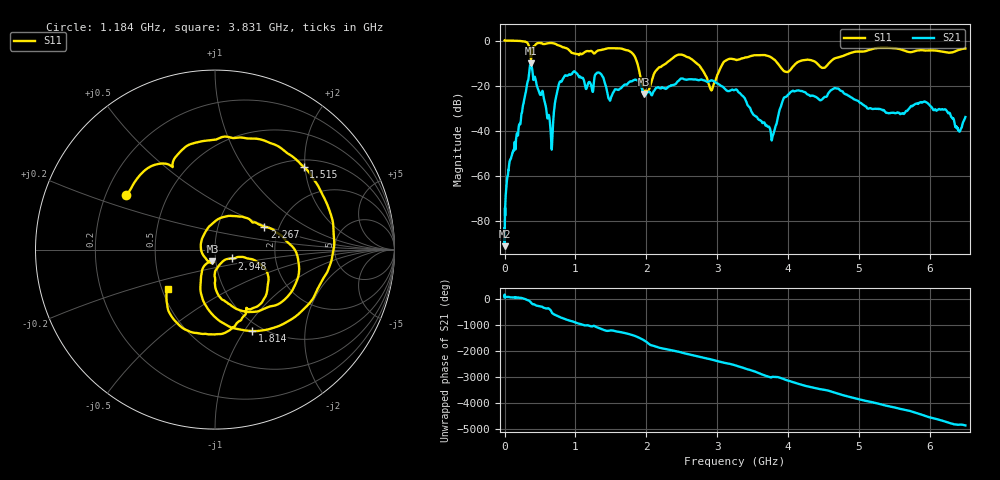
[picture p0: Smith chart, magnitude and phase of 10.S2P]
!Keysight Technologies,E5063A,MY54503115,A.05.08
!Date: Wed Nov 22 14:09:47 2023
!Data & Calibration Information:
!Freq	S11:NONE(--)	S21:NONE(--)	S12:NONE(--)	S22:NONE(--)
# Hz S dB R 50
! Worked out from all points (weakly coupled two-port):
!   10001 points, 100 kHz to 6.5 GHz, reference 50 ohm
!   highest |S21| = -10.06 dB at 366.7 MHz (marker M1); lowest = -91.3 dB at 1.4 MHz (marker M2)
!   lowest |S11| = -23.7 dB at 1.96 GHz (marker M3), VSWR 1.14, Z = 48.2 - j6.19 ohm
!   |S11| at or under -10 dB: 1.872 GHz to 2.283 GHz (411.2 MHz wide, 19.8 % of centre); 2.705 GHz to 3.08 GHz (375.7 MHz wide, 13 % of centre); 3.849 GHz to 4.115 GHz (266.6 MHz wide, 6.7 % of centre) (the widest 3 of 4)
!   S12 and S22 are empty: the file has one direction only
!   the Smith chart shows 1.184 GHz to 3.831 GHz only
!   S11 on the Smith chart (normalised r, x): 1.184 GHz: 0.28, +0.26; 1.515 GHz: 1.16, +1.97; 1.814 GHz: 0.90, -1.09; 2.267 GHz: 1.68, +0.46; 2.948 GHz: 1.20, -0.12; 3.831 GHz: 0.54, -0.27
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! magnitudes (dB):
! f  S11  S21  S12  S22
! 100 kHz  0.0  -83.3  -  -
! 1.4 MHz  0.0  -91.3  -  -
! 65.1 MHz  0.0  -54.7  -  -
! 366.7 MHz  -7.7  -10.1  -  -
! 657.9 MHz  -1.1  -46.2  -  -
! 789.2 MHz  -2.4  -18.1  -  -
! 1.084 GHz  -6.1  -16.6  -  -
! 1.184 GHz  -4.7  -18.6  -  -
! 1.336 GHz  -4.3  -14.3  -  -
! 1.515 GHz  -3.4  -24.3  -  -
! 1.814 GHz  -6.0  -17.7  -  -
! 1.96 GHz  -23.7  -23.3  -  -
! 2.167 GHz  -12.2  -20.7  -  -
! 2.267 GHz  -10.4  -21.4  -  -
! 2.6 GHz  -7.5  -17.2  -  -
! 2.948 GHz  -19.5  -17.9  -  -
! 3.25 GHz  -8.5  -21.9  -  -
! 3.831 GHz  -9.3  -37.4  -  -
! 4.037 GHz  -12.8  -22.8  -  -
! 4.334 GHz  -8.8  -24.5  -  -
! 5.417 GHz  -3.2  -32.3  -  -
! 6.5 GHz  -3.6  -34.0  -  -
